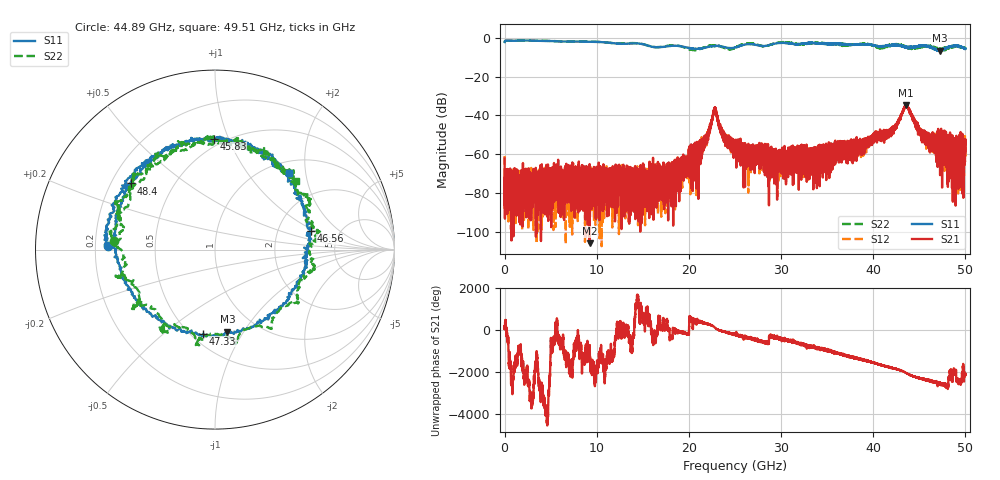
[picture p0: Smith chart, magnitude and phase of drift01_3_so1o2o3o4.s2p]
!Created with skrf (http://scikit-rf.org).
# Hz S RI R 50.0
!freq ReS11 ImS11 ReS21 ImS21 ReS12 ImS12 ReS22 ImS22
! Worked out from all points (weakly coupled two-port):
!   10001 points, 300 kHz to 50 GHz, reference 50 ohm
!   highest |S21| = -34.77 dB at 43.55 GHz (marker M1); lowest = -106.1 dB at 9.22 GHz (marker M2)
!   lowest |S11| = -6.7 dB at 47.22 GHz (marker M3), VSWR 2.72, Z = 36.5 - j42.5 ohm
!   |S11| at or under -10 dB: nowhere
!   |S22| runs from -6.7 to -1.4 dB; largest |S21 - S12| = 0.0037
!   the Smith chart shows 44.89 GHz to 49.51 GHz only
!   S11 on the Smith chart (normalised r, x): 44.89 GHz: 0.25, +0.02; 45.83 GHz: 0.45, +0.88; 46.56 GHz: 3.09, +0.89; 47.33 GHz: 0.57, -0.69; 48.4 GHz: 0.28, +0.32; 49.51 GHz: 1.22, +1.61
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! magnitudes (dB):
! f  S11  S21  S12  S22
! 300 kHz  -2.2  -62.3  -61.0  -2.2
! 255.3 MHz  -1.4  -82.8  -79.8  -1.4
! 8.335 GHz  -2.0  -71.7  -72.9  -1.8
! 9.22 GHz  -2.0  -106.1  -94.6  -1.9
! 16.67 GHz  -4.9  -75.5  -71.2  -4.8
! 20.94 GHz  -5.6  -59.7  -56.4  -6.1
! 21.94 GHz  -4.8  -53.1  -49.6  -4.5
! 22.79 GHz  -4.3  -36.4  -36.5  -4.0
! 23.7 GHz  -4.6  -49.8  -49.8  -5.0
! 25 GHz  -5.0  -58.3  -56.2  -5.1
! 29.86 GHz  -2.7  -59.7  -60.9  -2.4
! 33.34 GHz  -2.6  -63.0  -62.6  -2.6
! 41.67 GHz  -3.9  -50.0  -47.6  -4.7
! 43.55 GHz  -5.2  -34.8  -35.5  -4.6
! 44.89 GHz  -4.5  -46.3  -47.4  -4.9
! 45.83 GHz  -4.2  -55.4  -52.8  -4.7
! 46.56 GHz  -5.3  -54.5  -54.4  -4.5
! 47.22 GHz  -6.7  -61.9  -57.5  -5.8
! 47.33 GHz  -6.5  -55.9  -55.1  -6.5
! 48.4 GHz  -4.5  -58.3  -54.6  -4.5
! 49.51 GHz  -4.5  -67.5  -55.1  -4.6
! 50 GHz  -5.6  -53.2  -56.6  -5.4
